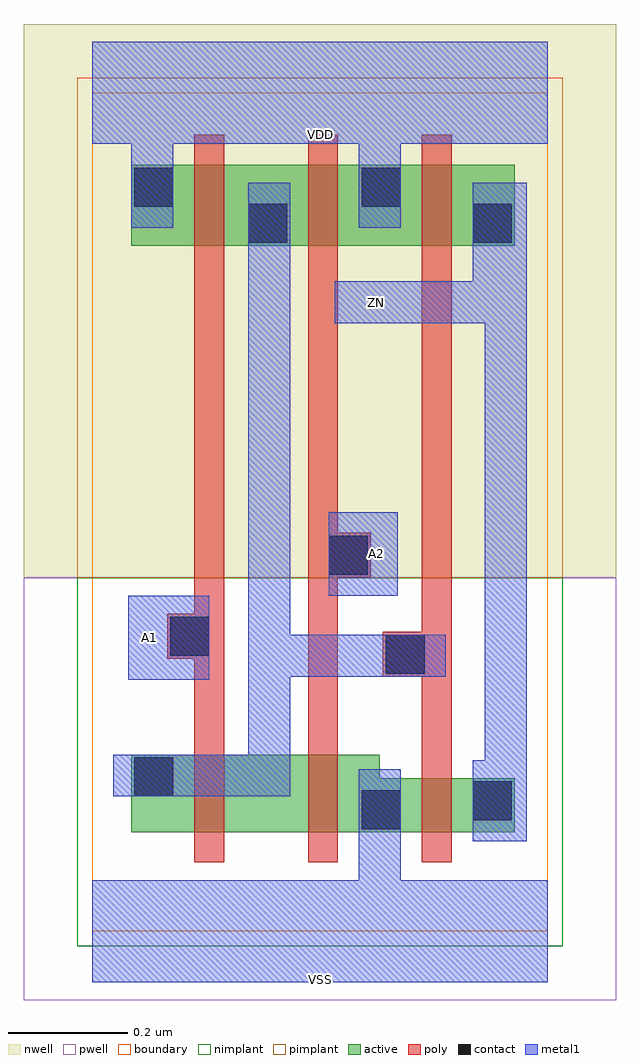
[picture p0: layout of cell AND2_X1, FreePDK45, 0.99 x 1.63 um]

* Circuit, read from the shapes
.subckt AND2_X1 A1 A2 VDD VSS ZN
M1 n1 A1 n2 VSUBS nfet w=0.13u l=0.05u
M2 VSS A2 n1 VSUBS nfet w=0.13u l=0.05u
M3 ZN n2 VSS VSUBS nfet w=0.09u l=0.05u
M4 n2 A1 VDD n3 pfet w=0.135u l=0.05u
M5 VDD A2 n2 n3 pfet w=0.135u l=0.05u
M6 ZN n2 VDD n3 pfet w=0.135u l=0.05u
.ends

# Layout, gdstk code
import gdstk
lib = gdstk.Library(unit=1e-6, precision=1e-10)
def R(c, l, rs):  # rectangles x0, y0, x1, y1
    for r in rs: c.add(gdstk.rectangle(r[:2], r[2:], *l))
def P(c, l, *ps):  # polygons
    for p in ps: c.add(gdstk.Polygon(p, *l))
active = (1, 0)
pwell = (2, 0)
nwell = (3, 0)
nimplant = (4, 0)
pimplant = (5, 0)
poly = (9, 0)
contact = (10, 0)
metal1 = (11, 0)
boundary = (235, 0)

and2_x1 = lib.new_cell('AND2_X1')
R(and2_x1, active, [(0.065,1.145,0.705,1.28)])
P(and2_x1, active, [(0.065,0.165),(0.705,0.165),(0.705,0.255),(0.48,0.255),(0.48,0.295),(0.065,0.295)])
R(and2_x1, pwell, [(-0.115,-0.115,0.875,0.59)])
R(and2_x1, nwell, [(-0.115,0.59,0.875,1.515)])
R(and2_x1, nimplant, [(-0.025,-0.025,0.785,0.59)])
R(and2_x1, pimplant, [(-0.025,0.59,0.785,1.425)])
P(and2_x1, poly, [(0.125,0.455),(0.17,0.455),(0.17,0.115),(0.22,0.115),(0.22,1.33),(0.17,1.33),(0.17,0.53),(0.125,0.53)],
  [(0.36,0.115),(0.41,0.115),(0.41,0.59),(0.465,0.59),(0.465,0.665),(0.41,0.665),(0.41,1.33),(0.36,1.33)],
  [(0.485,0.425),(0.55,0.425),(0.55,0.115),(0.6,0.115),(0.6,1.33),(0.55,1.33),(0.55,0.5),(0.485,0.5)])
R(and2_x1, contact, [(0.45,0.17,0.515,0.235), (0.635,0.185,0.7,0.25), (0.07,0.225,0.135,0.29), (0.49,0.43,0.555,0.495), (0.13,0.46,0.195,0.525), (0.395,0.595,0.46,0.66), (0.26,1.15,0.325,1.215), (0.635,1.15,0.7,1.215), (0.07,1.21,0.135,1.275), (0.45,1.21,0.515,1.275)])
R(and2_x1, metal1, [(0.06,0.42,0.195,0.56), (0.395,0.56,0.51,0.7)])
P(and2_x1, metal1, [(0.035,0.225),(0.33,0.225),(0.33,0.425),(0.59,0.425),(0.59,0.495),(0.33,0.495),(0.33,1.25),(0.26,1.25),(0.26,0.295),(0.035,0.295)],
  [(0.405,1.015),(0.655,1.015),(0.655,0.285),(0.635,0.285),(0.635,0.15),(0.725,0.15),(0.725,1.25),(0.635,1.25),(0.635,1.085),(0.405,1.085)],
  [(0,-0.085),(0.76,-0.085),(0.76,0.085),(0.515,0.085),(0.515,0.27),(0.445,0.27),(0.445,0.085),(0,0.085)],
  [(0,1.315),(0.065,1.315),(0.065,1.175),(0.135,1.175),(0.135,1.315),(0.445,1.315),(0.445,1.175),(0.515,1.175),(0.515,1.315),(0.76,1.315),(0.76,1.485),(0,1.485)])
R(and2_x1, boundary, [(0,0,0.76,1.4)])
and2_x1.add(gdstk.Label('A1', (0.095,0.49), layer=11, texttype=0))
and2_x1.add(gdstk.Label('A2', (0.475,0.63), layer=11, texttype=0))
and2_x1.add(gdstk.Label('VDD', (0.38,1.33), layer=11, texttype=0))
and2_x1.add(gdstk.Label('VSS', (0.38,-0.08), layer=11, texttype=0))
and2_x1.add(gdstk.Label('ZN', (0.475,1.05), layer=11, texttype=0))

lib.write_gds('AND2_X1.gds')
